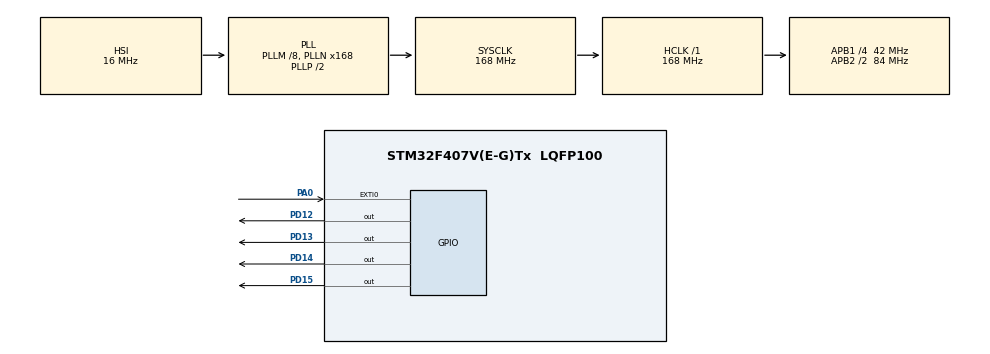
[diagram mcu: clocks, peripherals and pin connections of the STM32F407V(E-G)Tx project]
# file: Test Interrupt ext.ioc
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Mcu.Family=STM32F4
Mcu.Name=STM32F407V(E-G)Tx
Mcu.Package=LQFP100
NVIC.EXTI0_IRQn=true\:0\:1\:false\:false\:true\:true
NVIC.PriorityGroup=NVIC_PRIORITYGROUP_0
NVIC.RCC_IRQn=true\:0\:0\:false\:false\:true\:true
PA0-WKUP.Signal=GPXTI0
PA13.Mode=Serial_Wire
PA13.Signal=SYS_JTMS-SWDIO
PA14.Mode=Serial_Wire
PA14.Signal=SYS_JTCK-SWCLK
PD12.Signal=GPIO_Output
PD13.Signal=GPIO_Output
PD14.Signal=GPIO_Output
PD15.Signal=GPIO_Output
PH0-OSC_IN.Mode=HSE-External-Oscillator
PH0-OSC_IN.Signal=RCC_OSC_IN
PH1-OSC_OUT.Mode=HSE-External-Oscillator
PH1-OSC_OUT.Signal=RCC_OSC_OUT
ProjectManager.HeapSize=0x200
ProjectManager.StackSize=0x400
ProjectManager.TargetToolchain=MDK-ARM V5
RCC.48MHZClocksFreq_Value=48000000
RCC.AHBFreq_Value=168000000
RCC.APB1CLKDivider=RCC_HCLK_DIV4
RCC.APB1Freq_Value=42000000
RCC.APB1TimFreq_Value=84000000
RCC.APB2CLKDivider=RCC_HCLK_DIV2
RCC.APB2Freq_Value=84000000
RCC.APB2TimFreq_Value=168000000
RCC.CortexFreq_Value=168000000
RCC.HCLKFreq_Value=168000000
RCC.HSE_VALUE=8000000
RCC.HSI_VALUE=16000000
RCC.LSE_VALUE=32768
RCC.PLLM=8
RCC.PLLN=168
RCC.PLLQ=7
RCC.SYSCLKFreq_VALUE=168000000
RCC.SYSCLKSource=RCC_SYSCLKSOURCE_PLLCLK
RCC.VCOOutputFreq_Value=336000000
board=STM32F4DISCOVERY

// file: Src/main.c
/**
  ******************************************************************************
  * File Name          : main.c
  * Description        : Main program body
  ******************************************************************************
  ** This notice applies to any and all portions of this file
  * that are not between comment pairs USER CODE BEGIN and
  * USER CODE END. Other portions of this file, whether
  * inserted by the user or by software development tools
  * are owned by their respective copyright owners.
  *
  * COPYRIGHT(c) 2017 STMicroelectronics
  *
  * Redistribution and use in source and binary forms, with or without modification,
  * are permitted provided that the following conditions are met:
  *   1. Redistributions of source code must retain the above copyright notice,
  *      this list of conditions and the following disclaimer.
  *   2. Redistributions in binary form must reproduce the above copyright notice,
  *      this list of conditions and the following disclaimer in the documentation
  *      and/or other materials provided with the distribution.
  *   3. Neither the name of STMicroelectronics nor the names of its contributors
  *      may be used to endorse or promote products derived from this software
  *      without specific prior written permission.
  *
  * THIS SOFTWARE IS PROVIDED BY THE COPYRIGHT HOLDERS AND CONTRIBUTORS "AS IS"
  * AND ANY EXPRESS OR IMPLIED WARRANTIES, INCLUDING, BUT NOT LIMITED TO, THE
  * IMPLIED WARRANTIES OF MERCHANTABILITY AND FITNESS FOR A PARTICULAR PURPOSE ARE
  * DISCLAIMED. IN NO EVENT SHALL THE COPYRIGHT HOLDER OR CONTRIBUTORS BE LIABLE
  * FOR ANY DIRECT, INDIRECT, INCIDENTAL, SPECIAL, EXEMPLARY, OR CONSEQUENTIAL
  * DAMAGES (INCLUDING, BUT NOT LIMITED TO, PROCUREMENT OF SUBSTITUTE GOODS OR
  * SERVICES; LOSS OF USE, DATA, OR PROFITS; OR BUSINESS INTERRUPTION) HOWEVER
  * CAUSED AND ON ANY THEORY OF LIABILITY, WHETHER IN CONTRACT, STRICT LIABILITY,
  * OR TORT (INCLUDING NEGLIGENCE OR OTHERWISE) ARISING IN ANY WAY OUT OF THE USE
  * OF THIS SOFTWARE, EVEN IF ADVISED OF THE POSSIBILITY OF SUCH DAMAGE.
  *
  ******************************************************************************
  */

#include "main.h"
#include "stm32f4xx_hal.h"

/* USER CODE BEGIN PV */
/* Private variables ---------------------------------------------------------*/
		uint16_t tDelay = 255;
/* USER CODE END PV */

void SystemClock_Config(void);
static void MX_GPIO_Init(void);

/* USER CODE BEGIN PFP */
/* Private function prototypes -----------------------------------------------*/

/* USER CODE END PFP */

int main(void)
{

  /* MCU Configuration----------------------------------------------------------*/

  /* Reset of all peripherals, Initializes the Flash interface and the Systick. */
  HAL_Init();

  /* Configure the system clock */
  SystemClock_Config();

  /* Initialize all configured peripherals */
  MX_GPIO_Init();

  /* Infinite loop */
  while (1)
  {

  /* USER CODE BEGIN 3 */
		if(tDelay == 255)
		{
			HAL_GPIO_TogglePin(GPIOD, GPIO_PIN_15);
			HAL_GPIO_TogglePin(GPIOD, GPIO_PIN_14);
			HAL_GPIO_TogglePin(GPIOD, GPIO_PIN_13);
			HAL_GPIO_TogglePin(GPIOD, GPIO_PIN_12);
			HAL_Delay(tDelay);
		}
		else
		{
			HAL_GPIO_TogglePin(GPIOD, GPIO_PIN_15);
			HAL_Delay(tDelay);
			HAL_GPIO_TogglePin(GPIOD, GPIO_PIN_14);
			HAL_Delay(tDelay);
			HAL_GPIO_TogglePin(GPIOD, GPIO_PIN_13);
			HAL_Delay(tDelay);
			HAL_GPIO_TogglePin(GPIOD, GPIO_PIN_12);
		}

  }
  /* USER CODE END 3 */

}

/** System Clock Configuration
*/
void SystemClock_Config(void)
{

  RCC_OscInitTypeDef RCC_OscInitStruct;
  RCC_ClkInitTypeDef RCC_ClkInitStruct;

    /**Configure the main internal regulator output voltage
    */
  __HAL_RCC_PWR_CLK_ENABLE();

  __HAL_PWR_VOLTAGESCALING_CONFIG(PWR_REGULATOR_VOLTAGE_SCALE1);

    /**Initializes the CPU, AHB and APB busses clocks
    */
  RCC_OscInitStruct.OscillatorType = RCC_OSCILLATORTYPE_HSI;
  RCC_OscInitStruct.HSIState = RCC_HSI_ON;
  RCC_OscInitStruct.HSICalibrationValue = 16;
  RCC_OscInitStruct.PLL.PLLState = RCC_PLL_ON;
  RCC_OscInitStruct.PLL.PLLSource = RCC_PLLSOURCE_HSI;
  RCC_OscInitStruct.PLL.PLLM = 8;
  RCC_OscInitStruct.PLL.PLLN = 168;
  RCC_OscInitStruct.PLL.PLLP = RCC_PLLP_DIV2;
  RCC_OscInitStruct.PLL.PLLQ = 7;
  if (HAL_RCC_OscConfig(&RCC_OscInitStruct) != HAL_OK)
  {
    _Error_Handler(__FILE__, __LINE__);
  }

    /**Initializes the CPU, AHB and APB busses clocks
    */
  RCC_ClkInitStruct.ClockType = RCC_CLOCKTYPE_HCLK|RCC_CLOCKTYPE_SYSCLK
                              |RCC_CLOCKTYPE_PCLK1|RCC_CLOCKTYPE_PCLK2;
  RCC_ClkInitStruct.SYSCLKSource = RCC_SYSCLKSOURCE_PLLCLK;
  RCC_ClkInitStruct.AHBCLKDivider = RCC_SYSCLK_DIV1;
  RCC_ClkInitStruct.APB1CLKDivider = RCC_HCLK_DIV4;
  RCC_ClkInitStruct.APB2CLKDivider = RCC_HCLK_DIV2;

  if (HAL_RCC_ClockConfig(&RCC_ClkInitStruct, FLASH_LATENCY_5) != HAL_OK)
  {
    _Error_Handler(__FILE__, __LINE__);
  }

    /**Configure the Systick interrupt time
    */
  HAL_SYSTICK_Config(HAL_RCC_GetHCLKFreq()/1000);

    /**Configure the Systick
    */
  HAL_SYSTICK_CLKSourceConfig(SYSTICK_CLKSOURCE_HCLK);

  /* SysTick_IRQn interrupt configuration */
  HAL_NVIC_SetPriority(SysTick_IRQn, 0, 0);
}

/** Configure pins as
        * Analog
        * Input
        * Output
        * EVENT_OUT
        * EXTI
*/
static void MX_GPIO_Init(void)
{

  GPIO_InitTypeDef GPIO_InitStruct;

  /* GPIO Ports Clock Enable */
  __HAL_RCC_GPIOH_CLK_ENABLE();
  __HAL_RCC_GPIOA_CLK_ENABLE();
  __HAL_RCC_GPIOD_CLK_ENABLE();

  /*Configure GPIO pin Output Level */
  HAL_GPIO_WritePin(GPIOD, GPIO_PIN_12|GPIO_PIN_13|GPIO_PIN_14|GPIO_PIN_15, GPIO_PIN_RESET);

  /*Configure GPIO pin : PA0 */
  GPIO_InitStruct.Pin = GPIO_PIN_0;
  GPIO_InitStruct.Mode = GPIO_MODE_IT_RISING;
  GPIO_InitStruct.Pull = GPIO_NOPULL;
  HAL_GPIO_Init(GPIOA, &GPIO_InitStruct);

  /*Configure GPIO pins : PD12 PD13 PD14 PD15 */
  GPIO_InitStruct.Pin = GPIO_PIN_12|GPIO_PIN_13|GPIO_PIN_14|GPIO_PIN_15;
  GPIO_InitStruct.Mode = GPIO_MODE_OUTPUT_PP;
  GPIO_InitStruct.Pull = GPIO_NOPULL;
  GPIO_InitStruct.Speed = GPIO_SPEED_FREQ_LOW;
  HAL_GPIO_Init(GPIOD, &GPIO_InitStruct);

  /* EXTI interrupt init*/
  HAL_NVIC_SetPriority(EXTI0_IRQn, 0, 1);
  HAL_NVIC_EnableIRQ(EXTI0_IRQn);

}

void _Error_Handler(char * file, int line)
{
  while(1)
  {
  }
}

/************************ (C) COPYRIGHT STMicroelectronics *****END OF FILE****/
